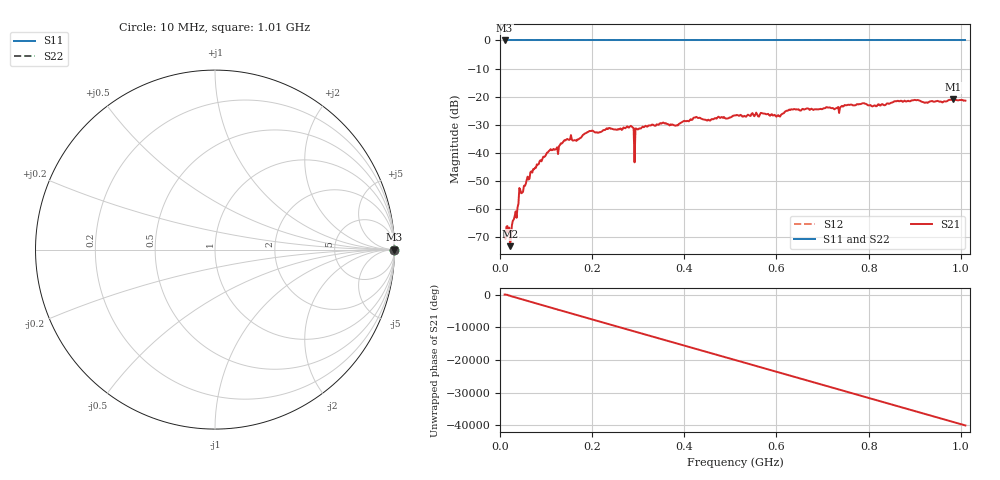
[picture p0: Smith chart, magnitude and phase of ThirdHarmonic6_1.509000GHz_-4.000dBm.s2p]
! 8/16/2025 5:45:33 PM
! C:\ANRITSUVNA\TEMP\TEMP.S2P
! CHANNEL.1
! TR.MEASUREMENT
! RAW.DATA
! RF.CORRECTION.OFF
! AVERAGING.OFF
! IF.BANDWIDTH: 5KHZ
! SWEEPTYPE:  FREQ.SWEEP(Linear)
! Reference Plane Port Info
! PORT:  PORT1  PORT2
! DISTANCE:  0  m  0  m
! TIME:  0  s  0  s
! PHASE.OFFSET:  0  deg.  0  deg.
! LOSS:  0  dB  0  dB
! REF.LOSS:  0  dB  0  dB
! REF.FREQ:  0  Hz  0  Hz
! Power Info
! POWER:  -20  dBm  -20  dBm
! EFF.POWER:  -20  dBm  -20  dBm
! SOURCE.ATTEN:  0  dB  0  dB
! TEST.ATTEN:  0  dB  0  dB
# GHZ S RI R 50.0
! FREQ.GHZ  S11RE  S11IM  S21RE  S21IM  S12RE  S12IM  S22RE  S22IM
!; PortSelection: Port_12
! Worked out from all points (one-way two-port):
!   501 points, 10 MHz to 1.01 GHz, reference 50 ohm
!   highest |S21| = -21.05 dB at 984 MHz (marker M1); lowest = -73.3 dB at 22 MHz (marker M2)
!   lowest |S11| = 0.0 dB at 10 MHz (marker M3)
!   |S11| at or under -10 dB: nowhere
!   |S22| runs from 0.0 to 0.0 dB; largest |S21 - S12| = 1.1
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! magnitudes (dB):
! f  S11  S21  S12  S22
! 10 MHz  0.0  -70.3  0.0  0.0
! 16 MHz  0.0  -66.2  0.0  0.0
! 22 MHz  0.0  -73.3  0.0  0.0
! 44 MHz  0.0  -53.3  0.0  0.0
! 70 MHz  0.0  -47.1  0.0  0.0
! 106 MHz  0.0  -39.4  0.0  0.0
! 122 MHz  0.0  -38.7  0.0  0.0
! 142 MHz  0.0  -35.7  0.0  0.0
! 178 MHz  0.0  -34.2  0.0  0.0
! 196 MHz  0.0  -32.3  0.0  0.0
! 280 MHz  0.0  -31.0  0.0  0.0
! 296 MHz  0.0  -31.5  0.0  0.0
! 298 MHz  0.0  -31.7  0.0  0.0
! 344 MHz  0.0  -30.1  0.0  0.0
! 382 MHz  0.0  -30.4  0.0  0.0
! 510 MHz  0.0  -26.7  0.0  0.0
! 604 MHz  0.0  -26.6  0.0  0.0
! 630 MHz  0.0  -24.8  0.0  0.0
! 678 MHz  0.0  -24.5  0.0  0.0
! 844 MHz  0.0  -22.6  0.0  0.0
! 984 MHz  0.0  -21.0  0.0  0.0
! 1.01 GHz  0.0  -21.5  0.0  0.0
